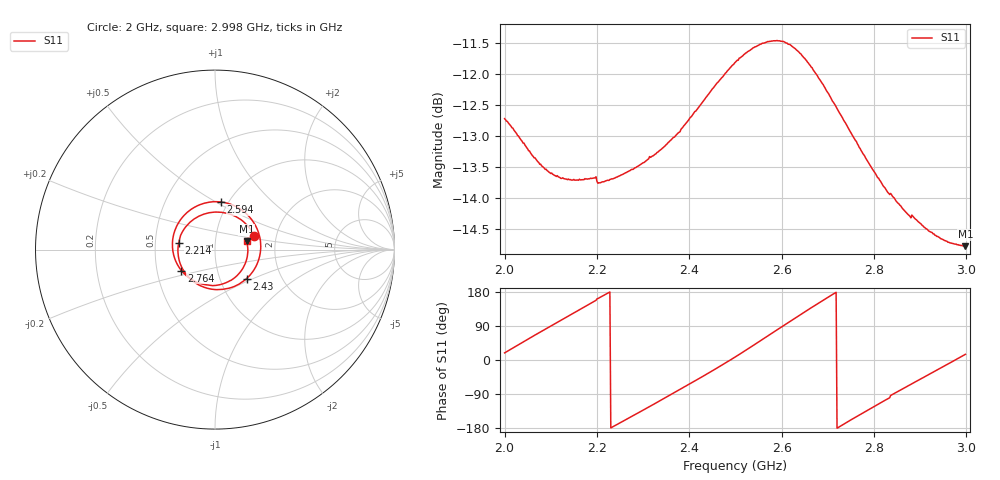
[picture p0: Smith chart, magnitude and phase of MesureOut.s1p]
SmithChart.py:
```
import skrf as rf
from pylab import *
import numpy as np
import time
import crclib
import struct
import serial
import serial.tools.list_ports
import matplotlib.pyplot as plt

from skrf import Network, Frequency

real = True
echo = True

if real:
	s = serial.Serial('com14', 115200, timeout=2, xonxoff=False) #might need to add enable control settings

def cmd(cmd_string):
	if echo:
		print(cmd_string)

	if real:
		s.write(bytes(cmd_string + '\n',encoding = "utf8"))
		#s.readline() #unclear if this is needed

def query(query_string):
	if echo:
		print(query_string)

	if real:
		s.write(bytes(query_string + '\n',encoding = "utf8"))
		result = s.readline()
		if echo:
			print( "-> " +  str(result, encoding = "utf-8"))
		return result

def ReadMesure(query_string):
	if echo:
		print(query_string)
	if real:
		s.write(bytes(query_string + '\n', encoding="utf8"))
		result = s.readline()
		if echo:
			powr = float(str(result, encoding="utf-8"))
			print("-> " , powr, 'dbm')
		return  powr


#display hex string
def HexShow(S_name,i_string):
	hex_string = ''
	hLen = len(i_string)
	for i in range(hLen):
		hvol = i_string[i]
		hhex = '%02X' % (hvol)
		hex_string += hhex + ' '
#	print('ReceiveBytes: %i_string' % (hex_string))
	print(S_name,hex_string,'	total:',hLen)

MHz = 1000000
SerialPort = serial.Serial("com16",115200)
FrequencyStart = 10*MHz # 5Mhz
FreqSweepRate =  1*MHz # 400kHz
FreqSweepTimes = 400 #500 points
FrequencyEnd = FrequencyStart+FreqSweepRate*FreqSweepTimes


#MAIN
#sweep settings (MHz)




query("*IDN?")
query("*RST;*OPC?")

cmd("*SEC 0")
cmd("SYST:NONV:DIS") #disable NVRAM, manual says this is important for performance

cmd("*SEC 1")
#set input and output connectors
cmd("INP RF2")
cmd("OUTP RF3")

#setup generator
#cmd("SOURce:RFGenerator:TX:FREQuency 1MHZ")
cmd("SOUR:RFG:TX:LEVel -10")
cmd("SOUR:RFG:TX:FREQ %dE6" % (FrequencyStart/MHz)) #default level is -27dBm
query("INIT:RFG;*OPC?")

#exit()

#setup analyzer either NPOW or POW, TBD
#TODO Set BW, delay, measurement time, etc. here
#cmd("LEV:MAX 0")
#cmd("CONF:POW:CONT SCAL,NONE") #might not want this
#cmd("CONF:SUB:POW IVAL,0,1")
cmd("RFAN:BAND 1000e3")
cmd("INIT:RFAN") #unclear if I need this, it's in the example
#cmd("INIT:WPOW")


MageCal = np.load('VmageCal.npy')# load the cal file

SendMsg = struct.pack('<BBLBLL',15,0x02,FrequencyStart,0, FreqSweepRate, 1) # L+B = 5bytes FreqCurrent

SendMsg = struct.pack("<B", 0xFE) + SendMsg + struct.pack("<B",crclib.calcFCS(SendMsg))  # XOR the general format frame fields

HexShow("DataRequest:", SendMsg)


Vphs = []
Vmage = []
t1 = time.time()
PwrMesureList = []
LastDegree = 1
for i in range(FreqSweepTimes):

    cmd("RFAN:FREQ %dE6" % ((FrequencyStart * FreqSweepRate* i)/MHz ))
    cmd("SOUR:RFG:FREQ %dE6;*WAI" % ((FrequencyStart  + FreqSweepRate* i)/MHz))
    ReadMesure("READ:RFAN:POW?")
    #time.sleep(0.1)
    SerialPort.write(SendMsg)
    while SerialPort.inWaiting() == 0:
        pass
    byte = SerialPort.read(4)
    Degree = round( struct.unpack('<H',byte[0:2])[0]*3327.0/4096.0/10 -180, 4)
    #if(Degree < -175):
     # LastDegree = -1
    #if(LastDegree ==-1 and Degree > -3 ):
     #   LastDegree = 1
    Degree = LastDegree*Degree


    Vphs.append(Degree)# adc convert to Voltage, then convert to degree

    MageADC = struct.unpack('<H', byte[2:4])[0] * 3327.0 / 4096.0

    Cal = MageCal[int((FrequencyStart + FreqSweepRate*i)/10000000)]
    Relg = (MageADC - Cal)/30.0# get log value
    Relg  = MageADC/30
    Relg =Relg/ 20.0
    if( Relg  > 1):
       Relg = 0.9999
    if (Relg < -1):
          Relg = -0.9999

    T =Relg# math.pow(10,Relg )
    print('Relg= ',Relg,'   T= ',T )
    Vmage.append(round(T , 4))# uints = mV, right lead 4bits

print(Vphs[:10])
print(Vmage[:10])
ring_slot = Network('horn antenna.s1p')
print(ring_slot)
#ring_slot.plot_s_db()
#plt.show()

#ring_slot.plot_s_deg()
#plt.show()

#ring_slot.plot_s_smith()
#plt.show()
#freq = Frequency(1,10,101,'ghz')
#ntwk = Network(frequency=freq, s= [-1, 1j, 0], z0=50, name='slippy')
#shape(ring_slot.s)

#import numpy as np
t = np.arange(FrequencyStart/MHz,(FreqSweepRate*FreqSweepTimes+FrequencyStart)/MHz, FreqSweepRate/MHz)#5Mhz - 200Mhz  0.4mhz step up
VMageYscale = np.arange(-1,1, 0.1)
VphsYscale =   np.arange(-180, 180, 10)


#plt.ion() #activre display
#fig=plt.figure()
#ax=fig.add_subplot(1,1,1)
#ax.set_ylim(0,180)
#x.set_xlim(0,FreqSweepRate/1000000*FreqSweepTimes)#K
#for i in range(10):
#    try:
#        ax.lines.remove(lines[0])
#    except Exception:
#        pass
#    lines = ax.plot(t,Vmage)
#    plt.pause(1)



plt.plot(t,Vmage)#(x , y)
plt.ylabel('Vmage (T_)')
plt.xlabel('Frequency (MHz)')
plt.yticks(VMageYscale)
plt.show()


plt.plot(t,Vphs)#(x , y)
plt.ylabel('Degree (°)')
plt.xlabel('Frequency (MHz)')
plt.yticks(VphsYscale)
plt.show()

N=FreqSweepTimes    # 采样点数
fs= FreqSweepTimes  # 采样频率
df = fs/(N-1)   # 分辨率
f = [df*n for n in range(0,N)]   # 构建频率数组

Y = np.fft.fft(Vphs)/N  #*2/N 反映了FFT变换的结果与实际信号幅值之间的关系
absY = [np.abs(x) for x in Y]      #求傅里叶变换结果的模
#print(absY)

plt.plot(f,absY)
plt.show()

def PrintSkrfFile(Mage, Vphs, FreqStart, FreqRate, FreqTime):
    MesureList= ['# MHz S MA R 50.0\n']
    File = open('MesureOut.s1p','w')
    File.write(MesureList[0])
    for size in range(len(Mage)):
        MesureList.append( '%.4f   %.4f   %.4f \n'%(((FreqStart+FreqRate*size)/MHz,Mage[size], Vphs[size])))
        File.write(MesureList[size+1])
    File.closed

PrintSkrfFile(Vmage,Vphs,FrequencyStart,FreqSweepRate,FreqSweepTimes)

ring_slot = Network('MesureOut.s1p')
print(ring_slot)

ring_slot.plot_s_db()
plt.show()
ring_slot.plot_s_deg()
plt.show()


ring_slot.plot_s_smith()
plt.show()


SerialPort.closed
```
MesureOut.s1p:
# MHz S MA R 50.0
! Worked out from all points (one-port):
!   500 points, 2 GHz to 2.998 GHz, reference 50 ohm
!   lowest |S11| = -14.8 dB at 2.998 GHz (marker M1), VSWR 1.45, Z = 71 + j6.93 ohm
!   |S11| at or under -10 dB: start of sweep to end of sweep
!   S11 on the Smith chart (normalised r, x): 2 GHz: 1.54, +0.24; 2.214 GHz: 0.66, +0.05; 2.43 GHz: 1.34, -0.46; 2.594 GHz: 0.93, +0.53; 2.764 GHz: 0.67, -0.16; 2.998 GHz: 1.42, +0.14
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2000  0.2313 18.8
2104  0.2085 92.3
2214  0.2056 170.0
2272  0.21 -151.1
2334  0.2177 -109.3
2430  0.2388 -42.7
2512  0.2593 17.6
2594  0.2674 82.6
2666  0.2543 139.2
2712  0.2385 174.2
2764  0.2207 -148.1
2860  0.196 -77.5
2932  0.1861 -29.5
2998  0.1824 15.0
